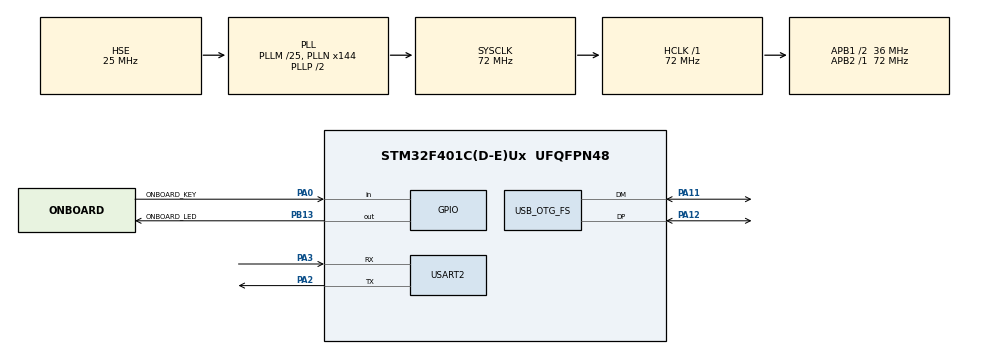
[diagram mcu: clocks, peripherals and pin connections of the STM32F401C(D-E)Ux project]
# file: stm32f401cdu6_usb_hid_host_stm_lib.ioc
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Mcu.Family=STM32F4
Mcu.Name=STM32F401C(D-E)Ux
Mcu.Package=UFQFPN48
NVIC.OTG_FS_IRQn=true\:0\:0\:false\:false\:true\:false\:true\:true
NVIC.PriorityGroup=NVIC_PRIORITYGROUP_4
PA0-WKUP.GPIO_Label=ONBOARD_KEY
PA0-WKUP.Signal=GPIO_Input
PA11.Mode=Host_Only
PA11.Signal=USB_OTG_FS_DM
PA12.Mode=Host_Only
PA12.Signal=USB_OTG_FS_DP
PA13.Mode=Serial_Wire
PA13.Signal=SYS_JTMS-SWDIO
PA14.Mode=Serial_Wire
PA14.Signal=SYS_JTCK-SWCLK
PA2.Mode=Asynchronous
PA2.Signal=USART2_TX
PA3.Mode=Asynchronous
PA3.Signal=USART2_RX
PB13.GPIO_Label=ONBOARD_LED
PB13.Signal=GPIO_Output
PH0\ -\ OSC_IN.Mode=HSE-External-Oscillator
PH0\ -\ OSC_IN.Signal=RCC_OSC_IN
PH1\ -\ OSC_OUT.Mode=HSE-External-Oscillator
PH1\ -\ OSC_OUT.Signal=RCC_OSC_OUT
ProjectManager.HeapSize=0x200
ProjectManager.StackSize=0x400
ProjectManager.TargetToolchain=STM32CubeIDE
RCC.48MHZClocksFreq_Value=48000000
RCC.AHBFreq_Value=72000000
RCC.APB1CLKDivider=RCC_HCLK_DIV2
RCC.APB1Freq_Value=36000000
RCC.APB1TimFreq_Value=72000000
RCC.APB2Freq_Value=72000000
RCC.APB2TimFreq_Value=72000000
RCC.CortexFreq_Value=72000000
RCC.HCLKFreq_Value=72000000
RCC.HSE_VALUE=25000000
RCC.HSI_VALUE=16000000
RCC.LSE_VALUE=32768
RCC.PLLM=25
RCC.PLLN=144
RCC.PLLQ=3
RCC.SYSCLKFreq_VALUE=72000000
RCC.SYSCLKSource=RCC_SYSCLKSOURCE_PLLCLK
RCC.VCOOutputFreq_Value=144000000
USART2.VirtualMode=VM_ASYNC
USB_HOST.USBH_HandleTypeDef-HID_FS=hUsbHostFS
USB_HOST.VirtualModeFS=Hid
USB_OTG_FS.VirtualMode=Host_Only
USB_OTG_FS.phy_itface=HCD_PHY_EMBEDDED
VP_USB_HOST_VS_USB_HOST_HID_FS.Mode=HID_FS
board=custom

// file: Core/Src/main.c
/* USER CODE BEGIN Header */
/**
  ******************************************************************************
  * @file           : main.c
  * @brief          : Main program body
  ******************************************************************************
  * @attention
  *
  * Copyright (c) 2024 STMicroelectronics.
  * All rights reserved.
  *
  * This software is licensed under terms that can be found in the LICENSE file
  * in the root directory of this software component.
  * If no LICENSE file comes with this software, it is provided AS-IS.
  *
  ******************************************************************************
  */
/* USER CODE END Header */
#include "main.h"
#include "usb_host.h"

/* USER CODE BEGIN Includes */
#include "usbh_hid.h"
/* USER CODE END Includes */

UART_HandleTypeDef huart2;

/* USER CODE BEGIN PV */
void USBH_HID_EventCallback(USBH_HandleTypeDef *phost)
{
	static char Uart_Buf[100];
	if(USBH_HID_GetDeviceType(phost) == HID_MOUSE)  // if the HID is Mouse
	{
		HID_MOUSE_Info_TypeDef *Mouse_Info;
		Mouse_Info = USBH_HID_GetMouseInfo(phost);  // Get the info
		int X_Val = Mouse_Info->x;  // get the x value
		int Y_Val = Mouse_Info->y;  // get the y value
		if (X_Val > 127) X_Val -= 255;
		if (Y_Val > 127) Y_Val -= 255;
		int len = sprintf (Uart_Buf, "X=%d, Y=%d, Button1=%d, Button2=%d, Button3=%d\n\r", X_Val, Y_Val, \
				                                Mouse_Info->buttons[0],Mouse_Info->buttons[1], Mouse_Info->buttons[2]);
		HAL_UART_Transmit(&huart2, (uint8_t *) Uart_Buf, len, 100);
	}

	if(USBH_HID_GetDeviceType(phost) == HID_KEYBOARD)  // if the HID is Mouse
	{
		uint8_t key;
		HID_KEYBD_Info_TypeDef *Keyboard_Info;
		Keyboard_Info = USBH_HID_GetKeybdInfo(phost);  // get the info
		key = USBH_HID_GetASCIICode(Keyboard_Info);  // get the key pressed
		int len = sprintf (Uart_Buf, "Key Pressed = %c\n\r", key);
		HAL_UART_Transmit(&huart2, (uint8_t *) Uart_Buf, len, 100);
	}
}
/* USER CODE END PV */

void SystemClock_Config(void);
static void MX_GPIO_Init(void);
static void MX_USART2_UART_Init(void);
void MX_USB_HOST_Process(void);

int main(void)
{

  /* MCU Configuration--------------------------------------------------------*/

  /* Reset of all peripherals, Initializes the Flash interface and the Systick. */
  HAL_Init();

  /* Configure the system clock */
  SystemClock_Config();

  /* Initialize all configured peripherals */
  MX_GPIO_Init();
  MX_USART2_UART_Init();
  MX_USB_HOST_Init();

  /* Infinite loop */
  while (1)
  {
    MX_USB_HOST_Process();

  }
}

void SystemClock_Config(void)
{
  RCC_OscInitTypeDef RCC_OscInitStruct = {0};
  RCC_ClkInitTypeDef RCC_ClkInitStruct = {0};

  /** Configure the main internal regulator output voltage
  */
  __HAL_RCC_PWR_CLK_ENABLE();
  __HAL_PWR_VOLTAGESCALING_CONFIG(PWR_REGULATOR_VOLTAGE_SCALE2);

  /** Initializes the RCC Oscillators according to the specified parameters
  * in the RCC_OscInitTypeDef structure.
  */
  RCC_OscInitStruct.OscillatorType = RCC_OSCILLATORTYPE_HSE;
  RCC_OscInitStruct.HSEState = RCC_HSE_ON;
  RCC_OscInitStruct.PLL.PLLState = RCC_PLL_ON;
  RCC_OscInitStruct.PLL.PLLSource = RCC_PLLSOURCE_HSE;
  RCC_OscInitStruct.PLL.PLLM = 25;
  RCC_OscInitStruct.PLL.PLLN = 144;
  RCC_OscInitStruct.PLL.PLLP = RCC_PLLP_DIV2;
  RCC_OscInitStruct.PLL.PLLQ = 3;
  if (HAL_RCC_OscConfig(&RCC_OscInitStruct) != HAL_OK)
  {
    Error_Handler();
  }

  /** Initializes the CPU, AHB and APB buses clocks
  */
  RCC_ClkInitStruct.ClockType = RCC_CLOCKTYPE_HCLK|RCC_CLOCKTYPE_SYSCLK
                              |RCC_CLOCKTYPE_PCLK1|RCC_CLOCKTYPE_PCLK2;
  RCC_ClkInitStruct.SYSCLKSource = RCC_SYSCLKSOURCE_PLLCLK;
  RCC_ClkInitStruct.AHBCLKDivider = RCC_SYSCLK_DIV1;
  RCC_ClkInitStruct.APB1CLKDivider = RCC_HCLK_DIV2;
  RCC_ClkInitStruct.APB2CLKDivider = RCC_HCLK_DIV1;

  if (HAL_RCC_ClockConfig(&RCC_ClkInitStruct, FLASH_LATENCY_2) != HAL_OK)
  {
    Error_Handler();
  }
}

static void MX_USART2_UART_Init(void)
{

  huart2.Instance = USART2;
  huart2.Init.BaudRate = 115200;
  huart2.Init.WordLength = UART_WORDLENGTH_8B;
  huart2.Init.StopBits = UART_STOPBITS_1;
  huart2.Init.Parity = UART_PARITY_NONE;
  huart2.Init.Mode = UART_MODE_TX_RX;
  huart2.Init.HwFlowCtl = UART_HWCONTROL_NONE;
  huart2.Init.OverSampling = UART_OVERSAMPLING_16;
  if (HAL_UART_Init(&huart2) != HAL_OK)
  {
    Error_Handler();
  }

}

static void MX_GPIO_Init(void)
{
  GPIO_InitTypeDef GPIO_InitStruct = {0};

  /* GPIO Ports Clock Enable */
  __HAL_RCC_GPIOH_CLK_ENABLE();
  __HAL_RCC_GPIOA_CLK_ENABLE();
  __HAL_RCC_GPIOB_CLK_ENABLE();

  /*Configure GPIO pin Output Level */
  HAL_GPIO_WritePin(ONBOARD_LED_GPIO_Port, ONBOARD_LED_Pin, GPIO_PIN_RESET);

  /*Configure GPIO pin : ONBOARD_KEY_Pin */
  GPIO_InitStruct.Pin = ONBOARD_KEY_Pin;
  GPIO_InitStruct.Mode = GPIO_MODE_INPUT;
  GPIO_InitStruct.Pull = GPIO_NOPULL;
  HAL_GPIO_Init(ONBOARD_KEY_GPIO_Port, &GPIO_InitStruct);

  /*Configure GPIO pin : ONBOARD_LED_Pin */
  GPIO_InitStruct.Pin = ONBOARD_LED_Pin;
  GPIO_InitStruct.Mode = GPIO_MODE_OUTPUT_PP;
  GPIO_InitStruct.Pull = GPIO_NOPULL;
  GPIO_InitStruct.Speed = GPIO_SPEED_FREQ_LOW;
  HAL_GPIO_Init(ONBOARD_LED_GPIO_Port, &GPIO_InitStruct);

}

void Error_Handler(void)
{
  __disable_irq();
  while (1)
  {
  }
}
